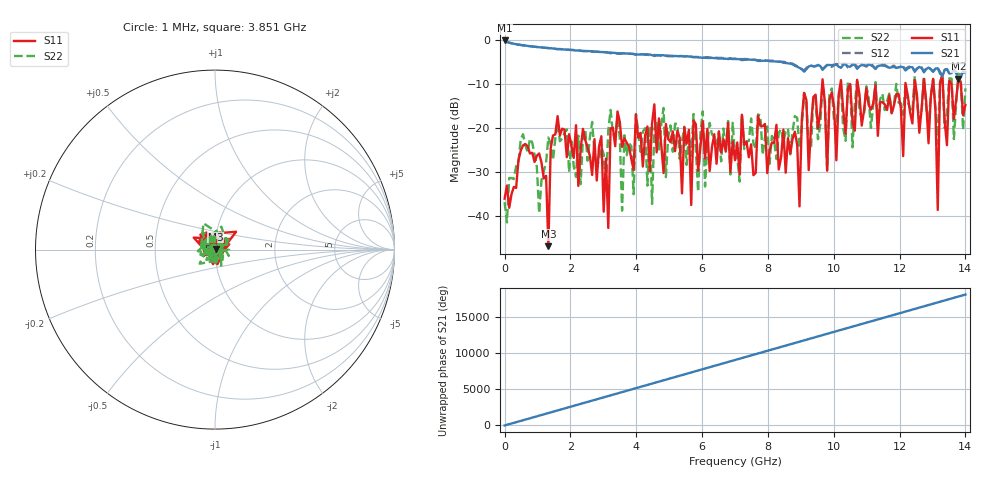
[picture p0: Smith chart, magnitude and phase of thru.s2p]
#  HZ  S  RI  R  50.00
! Rohde & Schwarz Vector Network Analyzer
! Rohde-Schwarz,ZNLE14-2Port,1323001264200055,1.71.1.10-23.02.1.238
! Created: UTC 1/21/2025, 7:07:13 AM
! freq[Hz]  re:S11  im:S11  re:S21  im:S21  re:S12  im:S12  re:S22  im:S22
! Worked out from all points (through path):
!   201 points, 1 MHz to 14 GHz, reference 50 ohm
!   highest |S21| = -0.06 dB at 1 MHz (marker M1); lowest = -8.8 dB at 13.79 GHz (marker M2)
!   lowest |S11| = -47.0 dB at 1.331 GHz (marker M3), VSWR 1.01, Z = 50.3 + j0.335 ohm
!   |S11| at or under -10 dB: start of sweep to 9.65 GHz; 9.675 GHz to 10.2 GHz (525.7 MHz wide, 5.29 % of centre); 10.73 GHz to 12.18 GHz (1.448 GHz wide, 12.6 % of centre) (the widest 3 of 11)
!   |S22| runs from -41.5 to -7.5 dB; largest |S21 - S12| = 0.031
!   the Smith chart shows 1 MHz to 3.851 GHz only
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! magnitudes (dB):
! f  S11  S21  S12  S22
! 1 MHz  -36.1  -0.1  -0.1  -36.9
! 1.051 GHz  -25.8  -1.6  -1.6  -39.5
! 1.331 GHz  -47.0  -1.8  -1.8  -22.2
! 1.611 GHz  -17.3  -2.0  -2.0  -18.7
! 2.381 GHz  -20.2  -2.5  -2.5  -22.2
! 3.151 GHz  -42.8  -2.8  -2.9  -20.6
! 3.431 GHz  -16.2  -3.1  -3.0  -17.6
! 3.571 GHz  -24.3  -3.0  -3.0  -38.9
! 4.691 GHz  -17.8  -3.5  -3.4  -24.9
! 7 GHz  -27.4  -4.3  -4.2  -26.2
! 8.96 GHz  -37.9  -6.3  -6.2  -24.6
! 9.1 GHz  -12.0  -7.2  -6.9  -12.0
! 9.24 GHz  -29.6  -6.0  -5.8  -24.6
! 9.38 GHz  -12.9  -6.0  -5.9  -13.0
! 9.8 GHz  -29.8  -5.7  -5.6  -29.6
! 9.94 GHz  -11.9  -5.7  -6.1  -11.0
! 11.69 GHz  -12.6  -6.3  -6.3  -12.2
! 13.02 GHz  -8.8  -7.2  -7.2  -8.9
! 13.16 GHz  -38.7  -6.4  -6.3  -23.5
! 13.23 GHz  -9.9  -7.6  -7.2  -9.6
! 13.79 GHz  -8.5  -8.8  -8.1  -7.5
! 14 GHz  -14.8  -7.3  -7.5  -11.0
